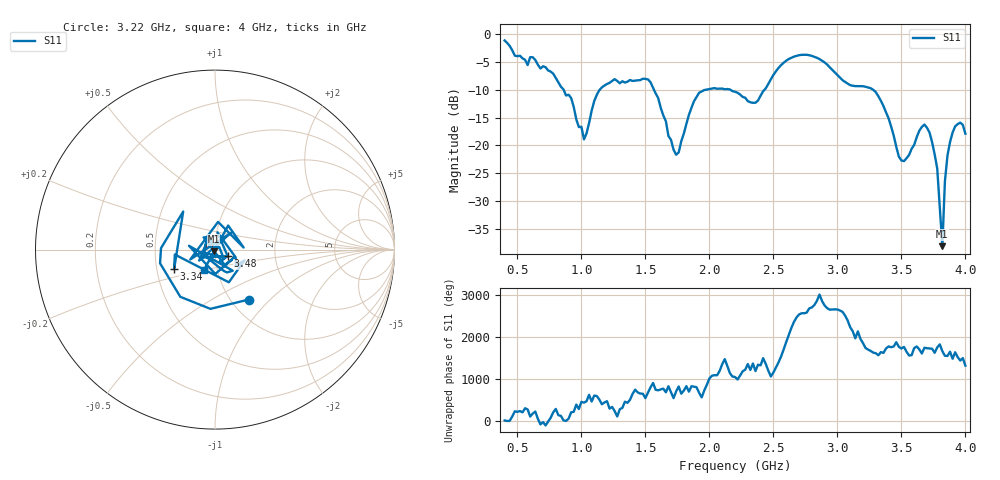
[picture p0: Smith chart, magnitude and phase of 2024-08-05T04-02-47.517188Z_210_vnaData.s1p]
!Created with skrf (http://scikit-rf.org).
# Hz S RI R 50.0
!freq ReS11 ImS11
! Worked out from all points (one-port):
!   181 points, 400 MHz to 4 GHz, reference 50 ohm
!   lowest |S11| = -38.1 dB at 3.82 GHz (marker M1), VSWR 1.03, Z = 49.2 - j0.912 ohm
!   |S11| at or under -10 dB: 861 MHz to 1.143 GHz (282.2 MHz wide, 28.2 % of centre); 1.567 GHz to 1.973 GHz (406.6 MHz wide, 23 % of centre); 3.279 GHz to end of sweep (the widest 3 of 4)
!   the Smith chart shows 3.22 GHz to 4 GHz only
!   S11 on the Smith chart (normalised r, x): 3.22 GHz: 1.20, -0.76; 3.34 GHz: 0.62, -0.14; 3.48 GHz: 1.15, -0.08; 4 GHz: 0.86, -0.20
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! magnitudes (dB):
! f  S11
! 400 MHz  -1.2
! 860 MHz  -9.9
! 920 MHz  -11.5
! 1.02 GHz  -18.9
! 1.14 GHz  -10.1
! 1.3 GHz  -8.8
! 1.54 GHz  -8.7
! 1.72 GHz  -20.8
! 1.76 GHz  -21.3
! 1.84 GHz  -14.5
! 1.92 GHz  -10.5
! 2.2 GHz  -10.4
! 2.36 GHz  -12.3
! 2.66 GHz  -4.1
! 2.86 GHz  -4.5
! 3.1 GHz  -9.2
! 3.22 GHz  -9.5
! 3.34 GHz  -12.0
! 3.48 GHz  -22.0
! 3.56 GHz  -21.7
! 3.66 GHz  -16.7
! 3.72 GHz  -17.7
! 3.78 GHz  -24.2
! 3.82 GHz  -38.1
! 3.84 GHz  -26.4
! 3.88 GHz  -19.4
! 3.96 GHz  -15.9
! 4 GHz  -17.9
